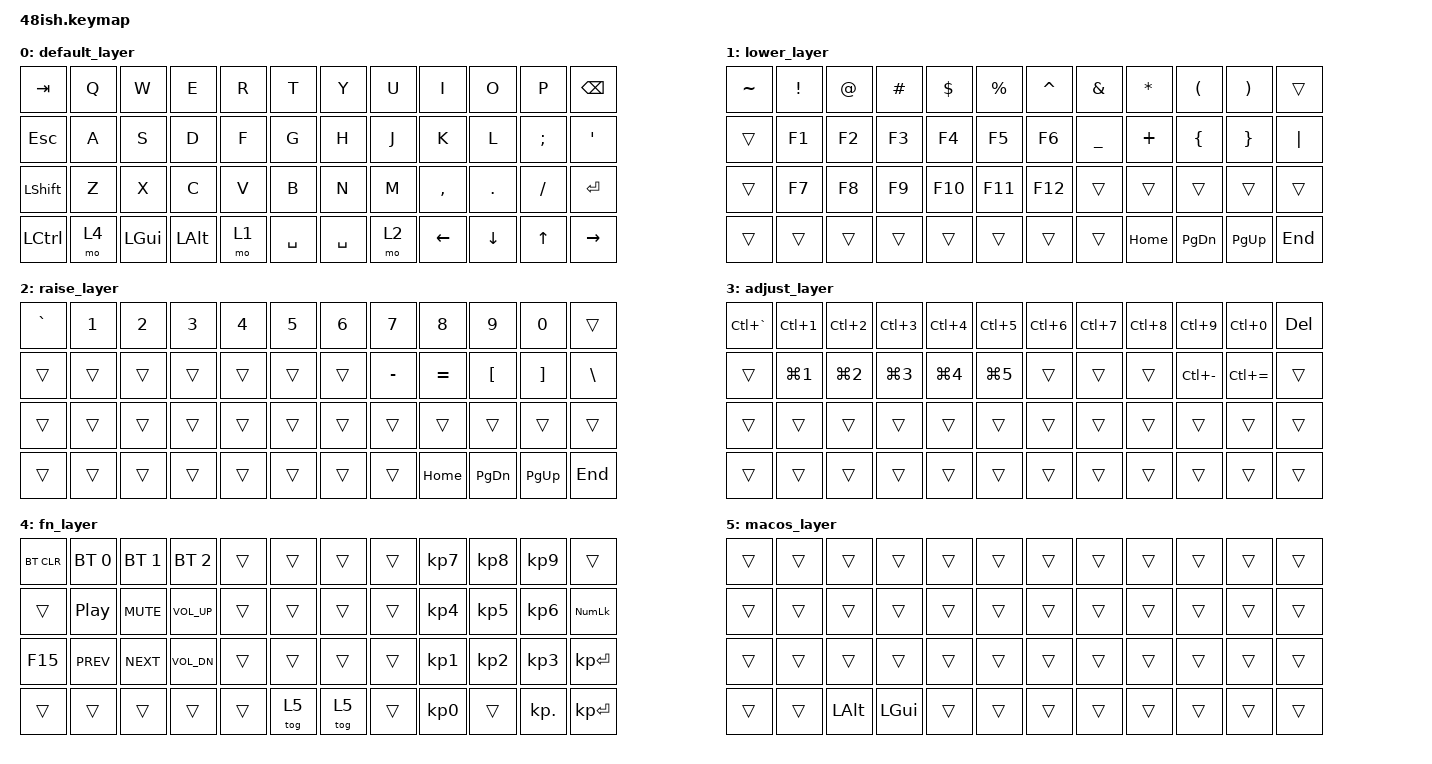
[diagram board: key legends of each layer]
#include <behaviors.dtsi>
#include <dt-bindings/zmk/keys.h>
#include <dt-bindings/zmk/bt.h>

/ {
	keymap {
		compatible = "zmk,keymap";

		default_layer { // Layer 0
			bindings = <
				&kp TAB     &kp Q  &kp W     &kp E     &kp R  &kp T      &kp Y      &kp U  &kp I      &kp O       &kp P      &kp BSPC
				&kp ESC     &kp A  &kp S     &kp D     &kp F  &kp G      &kp H      &kp J  &kp K      &kp L       &kp SEMI   &kp APOS
				&kp LSHIFT  &kp Z  &kp X     &kp C     &kp V  &kp B      &kp N      &kp M  &kp COMMA  &kp PERIOD  &kp SLASH  &kp ENTER
				&kp LCTRL   &mo 4  &kp LGUI  &kp LALT  &mo 1  &kp SPACE  &kp SPACE  &mo 2  &kp LEFT   &kp DOWN    &kp UP     &kp RIGHT
			>;
		};

		lower_layer { // Layer 1
			bindings = <
				&kp TILDE  &kp EXCL  &kp AT  &kp HASH  &kp DLLR  &kp PRCNT  &kp CARET  &kp AMPS   &kp STAR  &kp LPAR   &kp RPAR   &trans
				&trans     &kp F1    &kp F2  &kp F3    &kp F4    &kp F5     &kp F6     &kp UNDER  &kp PLUS  &kp LBRC   &kp RBRC   &kp PIPE
				&trans     &kp F7    &kp F8  &kp F9    &kp F10   &kp F11    &kp F12    &trans     &trans    &trans     &trans     &trans
				&trans     &trans    &trans  &trans    &trans    &trans     &trans     &trans     &kp HOME  &kp PG_DN  &kp PG_UP  &kp END
			>;
		};

		raise_layer { // Layer 2
			bindings = <
				&kp GRAVE  &kp N1  &kp N2  &kp N3  &kp N4   &kp N5   &kp N6   &kp N7     &kp N8     &kp N9     &kp N0     &trans
				&trans     &trans  &trans  &trans  &trans   &trans   &trans   &kp MINUS  &kp EQUAL  &kp LBKT   &kp RBKT   &kp BSLH
				&trans     &trans  &trans  &trans  &trans   &trans   &trans   &trans     &trans     &trans     &trans     &trans
				&trans     &trans  &trans  &trans  &trans   &trans   &trans   &trans     &kp HOME   &kp PG_DN  &kp PG_UP  &kp END
			>;
		};

		adjust_layer { // Layer 3
			bindings = <
				&kp LC(GRAVE)  &kp LC(N1)  &kp LC(N2)  &kp LC(N3)  &kp LC(N4)  &kp LC(N5)  &kp LC(N6)  &kp LC(N7)  &kp LC(N8)  &kp LC(N9)     &kp LC(N0)     &kp DEL
				&trans         &kp LG(N1)  &kp LG(N2)  &kp LG(N3)  &kp LG(N4)  &kp LG(N5)  &trans      &trans      &trans      &kp LC(MINUS)  &kp LC(EQUAL)  &trans
				&trans         &trans      &trans      &trans      &trans      &trans      &trans      &trans      &trans      &trans         &trans         &trans
				&trans         &trans      &trans      &trans      &trans      &trans      &trans      &trans      &trans      &trans         &trans         &trans
			>;
		};

		fn_layer { // Layer 4
			bindings = <
				&bt BT_CLR  &bt BT_SEL 0  &bt BT_SEL 1  &bt BT_SEL 2  &trans  &trans  &trans  &trans  &kp KP_N7  &kp KP_N8  &kp KP_N9   &trans
				&trans      &kp C_PP      &kp C_MUTE    &kp C_VOL_UP  &trans  &trans  &trans  &trans  &kp KP_N4  &kp KP_N5  &kp KP_N6   &kp KP_NUMLOCK
				&kp F15     &kp C_PREV    &kp C_NEXT    &kp C_VOL_DN  &trans  &trans  &trans  &trans  &kp KP_N1  &kp KP_N2  &kp KP_N3   &kp KP_ENTER
				&trans      &trans        &trans        &trans        &trans  &tog 5  &tog 5  &trans  &kp KP_N0  &trans     &kp KP_DOT  &kp KP_ENTER
			>;
		};

		macos_layer { // Layer 5
			bindings = <
				&trans  &trans  &trans    &trans    &trans  &trans  &trans  &trans  &trans  &trans  &trans  &trans
				&trans  &trans  &trans    &trans    &trans  &trans  &trans  &trans  &trans  &trans  &trans  &trans
				&trans  &trans  &trans    &trans    &trans  &trans  &trans  &trans  &trans  &trans  &trans  &trans
				&trans  &trans  &kp LALT  &kp LGUI  &trans  &trans  &trans  &trans  &trans  &trans  &trans  &trans
			>;
		}
	};

	conditional_layers {
		compatible = "zmk,conditional-layers";
		tri_layer {
			if-layers = <1 2>;
			then-layer = <3>;
		};
	};
};
